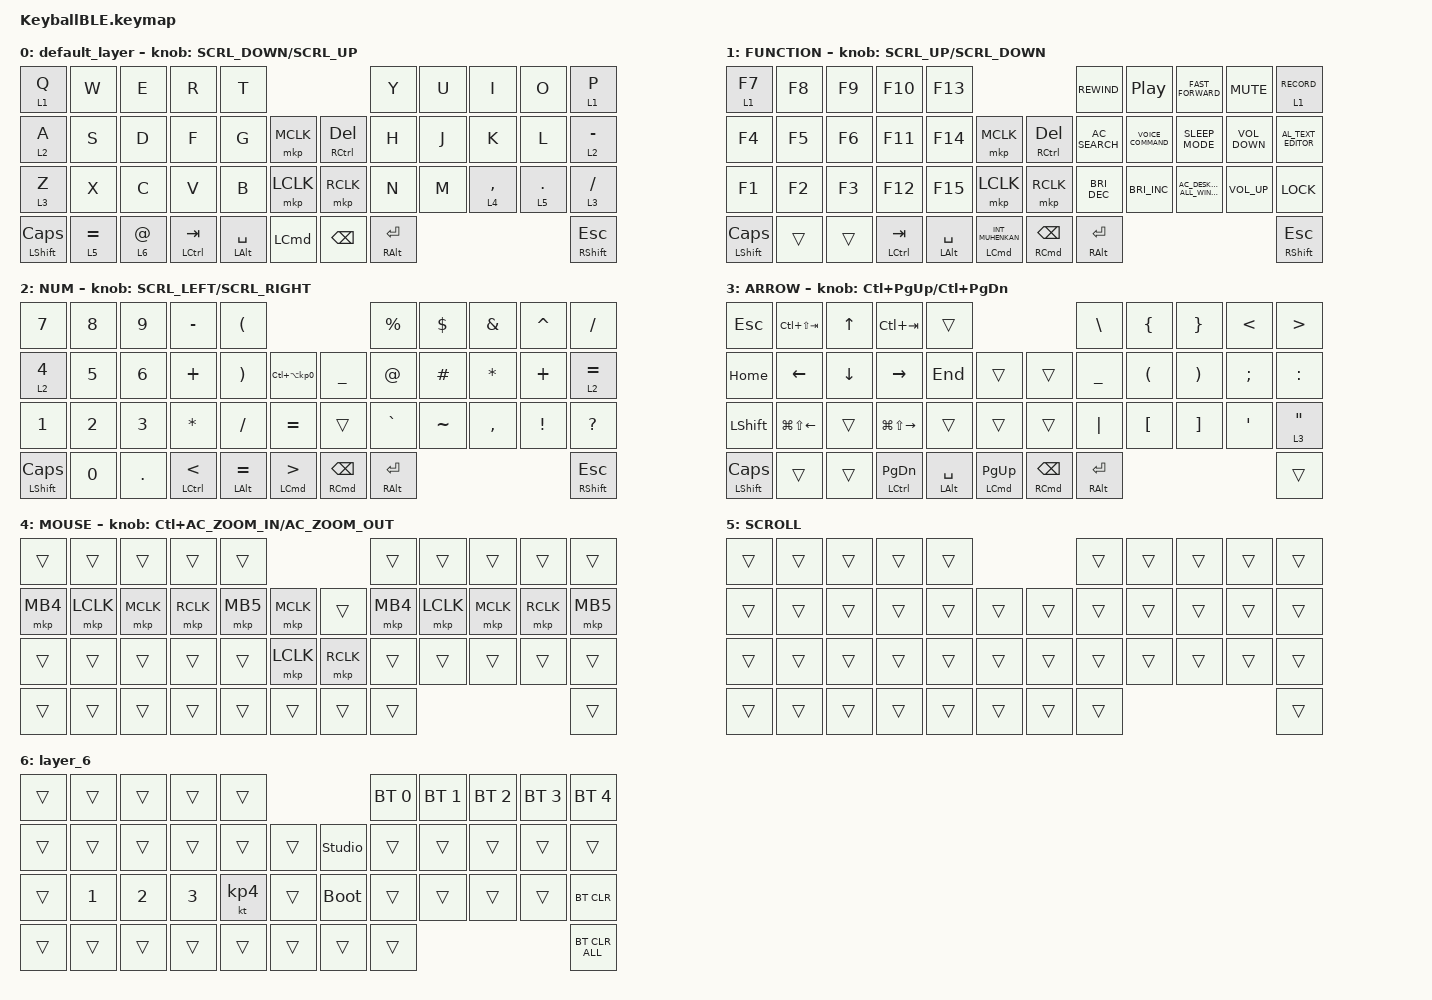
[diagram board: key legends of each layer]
#define ZMK_POINTING_DEFAULT_SCRL_VAL 120    // default: 10

#include <behaviors.dtsi>
#include <dt-bindings/zmk/bt.h>
#include <dt-bindings/zmk/keys.h>
#include <dt-bindings/zmk/pointing.h>

#define MOUSE 4
#define SCROLL 5
#define NUM 6

&mt {
    flavor = "balanced";
    quick-tap-ms = <0>;
};

/ {
    combos {
        compatible = "zmk,combos";

        double_quotation {
            bindings = <&kp DOUBLE_QUOTES>;
            key-positions = <20 21>;
        };
    };

    macros {
        to_layer_0: to_layer_0 {
            compatible = "zmk,behavior-macro-one-param";
            #binding-cells = <1>;
            bindings = <&to 0 &macro_param_1to1 &kp MACRO_PLACEHOLDER>;
            label = "TO_LAYER_0";
        };
    };

    behaviors {
        lt_to_layer_0: lt_to_layer_0 {
            compatible = "zmk,behavior-hold-tap";
            label = "LAYER_TAP_TO_0";
            bindings = <&mo>, <&to_layer_0>;

            #binding-cells = <2>;
            tapping-term-ms = <200>;
        };

        ROTATE: ROTATE {
            compatible = "zmk,behavior-sensor-rotate-var";
            label = "ROTATE";
            #sensor-binding-cells = <2>;
            bindings = <&msc>, <&msc>;

            tap-ms = <20>;
        };
    };

    keymap {
        compatible = "zmk,keymap";

        default_layer {
            bindings = <
&lt_to_layer_0 1 Q       &kp W        &kp E          &kp R                 &kp T                                                            &kp Y              &kp U  &kp I        &kp O      &lt_to_layer_0 1 P
&lt 2 A                  &kp S        &kp D          &kp F                 &kp G               &mkp MCLK             &mt RIGHT_CONTROL DEL  &kp H              &kp J  &kp K        &kp L      &lt 2 MINUS
&lt_to_layer_0 3 Z       &kp X        &kp C          &kp V                 &kp B               &mkp LCLK             &mkp RCLK              &kp N              &kp M  &lt 4 COMMA  &lt 5 DOT  &lt 3 SLASH
&mt LEFT_SHIFT CAPSLOCK  &lt 5 EQUAL  &lt 6 AT_SIGN  &mt LEFT_CONTROL TAB  &mt LEFT_ALT SPACE  &kp LEFT_COMMAND      &kp BACKSPACE          &mt RIGHT_ALT RET                                 &mt RIGHT_SHIFT ESCAPE
            >;

            sensor-bindings = <&ROTATE SCRL_DOWN SCRL_UP>;
        };

        FUNCTION {
            bindings = <
&lt 1 F7                 &kp F8  &kp F9  &kp F10               &kp F13                                                                             &kp C_REWIND          &kp C_PLAY_PAUSE      &kp C_FAST_FORWARD                 &kp C_MUTE         &lt 1 C_RECORD
&kp F4                   &kp F5  &kp F6  &kp F11               &kp F14             &mkp MCLK                          &mt RIGHT_CONTROL DELETE     &kp C_AC_SEARCH       &kp C_VOICE_COMMAND   &kp C_SLEEP_MODE                   &kp C_VOLUME_DOWN  &kp C_AL_TEXT_EDITOR
&kp F1                   &kp F2  &kp F3  &kp F12               &kp F15             &mkp LCLK                          &mkp RCLK                    &kp C_BRIGHTNESS_DEC  &kp C_BRIGHTNESS_INC  &kp C_AC_DESKTOP_SHOW_ALL_WINDOWS  &kp C_VOLUME_UP    &kp K_LOCK
&mt LEFT_SHIFT CAPSLOCK  &trans  &trans  &mt LEFT_CONTROL TAB  &mt LEFT_ALT SPACE  &mt LEFT_COMMAND INT_MUHENKAN      &mt RIGHT_COMMAND BACKSPACE  &mt RIGHT_ALT RET                                                                                 &mt RIGHT_SHIFT ESCAPE
            >;

            sensor-bindings = <&ROTATE SCRL_UP SCRL_DOWN>;
        };

        NUM {
            bindings = <
&kp NUMBER_7             &kp NUMBER_8  &kp NUMBER_9  &kp MINUS                   &kp LEFT_PARENTHESIS                                                                   &kp PERCENT        &kp DOLLAR  &kp AMPERSAND  &kp CARET        &kp SLASH
&lt 2 NUMBER_4           &kp NUMBER_5  &kp NUMBER_6  &kp PLUS                    &kp RIGHT_PARENTHESIS  &kp LC(LA(KP_NUMBER_0))            &kp UNDERSCORE               &kp AT_SIGN        &kp HASH    &kp ASTERISK   &kp PLUS         &lt 2 EQUAL
&kp NUMBER_1             &kp NUMBER_2  &kp NUMBER_3  &kp ASTERISK                &kp SLASH              &kp EQUAL                          &trans                       &kp GRAVE          &kp TILDE   &kp COMMA      &kp EXCLAMATION  &kp QUESTION
&mt LEFT_SHIFT CAPSLOCK  &kp NUMBER_0  &kp PERIOD    &mt LEFT_CONTROL LESS_THAN  &mt LEFT_ALT EQUAL     &mt LEFT_COMMAND GREATER_THAN      &mt RIGHT_COMMAND BACKSPACE  &mt RIGHT_ALT RET                                              &mt RIGHT_SHIFT ESCAPE
            >;

            sensor-bindings = <&ROTATE SCRL_LEFT SCRL_RIGHT>;
        };

        ARROW {
            bindings = <
&kp ESCAPE               &kp LC(LS(TAB))         &kp UP_ARROW    &kp LC(TAB)                 &trans                                                                         &kp BACKSLASH      &kp LEFT_BRACE        &kp RIGHT_BRACE        &kp LESS_THAN  &kp GREATER_THAN
&kp HOME                 &kp LEFT_ARROW          &kp DOWN_ARROW  &kp RIGHT_ARROW             &kp END             &trans                        &trans                       &kp UNDERSCORE     &kp LEFT_PARENTHESIS  &kp RIGHT_PARENTHESIS  &kp SEMICOLON  &kp COLON
&kp LEFT_SHIFT           &kp LG(LS(LEFT_ARROW))  &trans          &kp LG(LS(RIGHT_ARROW))     &trans              &trans                        &trans                       &kp PIPE           &kp LEFT_BRACKET      &kp RIGHT_BRACKET      &kp SQT        &lt 3 DOUBLE_QUOTES
&mt LEFT_SHIFT CAPSLOCK  &trans                  &trans          &mt LEFT_CONTROL PAGE_DOWN  &mt LEFT_ALT SPACE  &mt LEFT_COMMAND PAGE_UP      &mt RIGHT_COMMAND BACKSPACE  &mt RIGHT_ALT RET                                                              &trans
            >;

            sensor-bindings = <&inc_dec_kp LC(PAGE_UP) LC(PAGE_DOWN)>;
        };

        MOUSE {
            bindings = <
&trans    &trans     &trans     &trans     &trans                              &trans    &trans     &trans     &trans     &trans
&mkp MB4  &mkp LCLK  &mkp MCLK  &mkp RCLK  &mkp MB5  &mkp MCLK      &trans     &mkp MB4  &mkp LCLK  &mkp MCLK  &mkp RCLK  &mkp MB5
&trans    &trans     &trans     &trans     &trans    &mkp LCLK      &mkp RCLK  &trans    &trans     &trans     &trans     &trans
&trans    &trans     &trans     &trans     &trans    &trans         &trans     &trans                                     &trans
            >;

            sensor-bindings = <&inc_dec_kp LC(C_AC_ZOOM_IN) C_AC_ZOOM_OUT>;
        };

        SCROLL {
            bindings = <
&trans  &trans  &trans  &trans  &trans                      &trans  &trans  &trans  &trans  &trans
&trans  &trans  &trans  &trans  &trans  &trans      &trans  &trans  &trans  &trans  &trans  &trans
&trans  &trans  &trans  &trans  &trans  &trans      &trans  &trans  &trans  &trans  &trans  &trans
&trans  &trans  &trans  &trans  &trans  &trans      &trans  &trans                          &trans
            >;
        };

        layer_6 {
            bindings = <
&trans  &trans        &trans        &trans        &trans                                 &bt BT_SEL 0  &bt BT_SEL 1  &bt BT_SEL 2  &bt BT_SEL 3  &bt BT_SEL 4
&trans  &trans        &trans        &trans        &trans     &trans      &studio_unlock  &trans        &trans        &trans        &trans        &trans
&trans  &kp NUMBER_1  &kp NUMBER_2  &kp NUMBER_3  &kt KP_N4  &trans      &bootloader     &trans        &trans        &trans        &trans        &bt BT_CLR
&trans  &trans        &trans        &trans        &trans     &trans      &trans          &trans                                                  &bt BT_CLR_ALL
            >;
        };
    };
};
